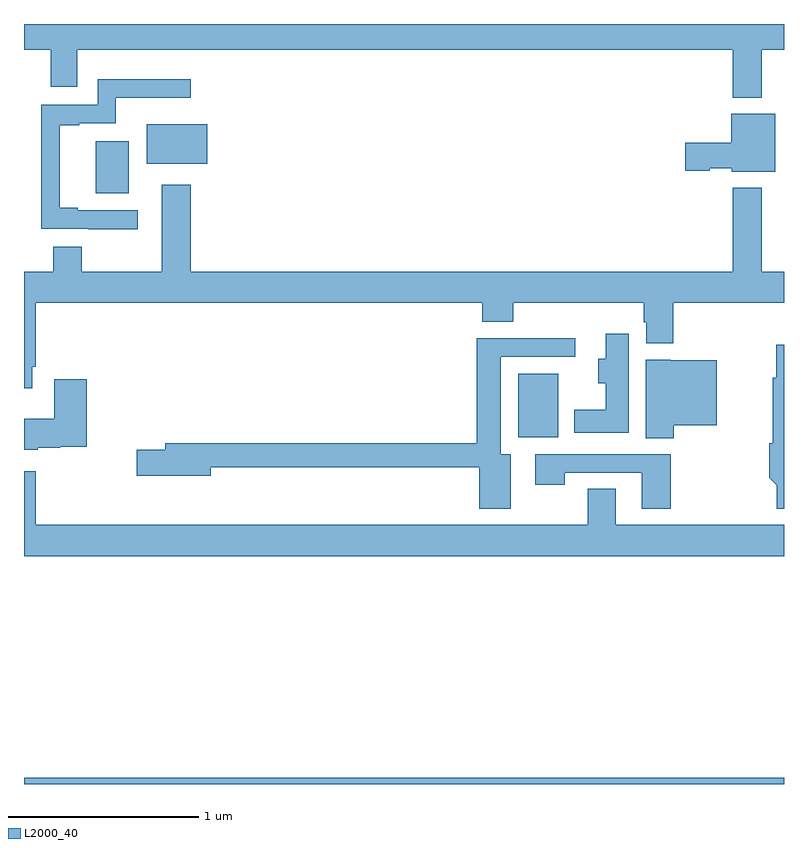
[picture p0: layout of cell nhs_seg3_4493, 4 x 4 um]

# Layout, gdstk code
import gdstk
lib = gdstk.Library(unit=1e-6, precision=1e-09)
def R(c, l, rs):  # rectangles x0, y0, x1, y1
    for r in rs: c.add(gdstk.rectangle(r[:2], r[2:], *l))
def P(c, l, *ps):  # polygons
    for p in ps: c.add(gdstk.Polygon(p, *l))
L2000_40 = (2000, 40)

nhs_seg3_4493 = lib.new_cell('nhs_seg3_4493')
R(nhs_seg3_4493, L2000_40, [(351,682.4,355,682.432), (353.6,684.224,353.812,684.559), (351.377,685.508,351.55,685.783), (351.647,685.664,351.964,685.873)])
P(nhs_seg3_4493, L2000_40, [(354.883,686.264),(355,686.264),(355,686.4),(351,686.4),(351,686.264),(351.14,686.264),(351.14,686.07),(351.28,686.07),(351.28,686.264),(354.731,686.264),(354.731,686.012),(354.883,686.012)],
  [(351.598,685.419),(351.283,685.419),(351.283,685.432),(351.188,685.432),(351.188,685.866),(351.29,685.866),(351.29,685.878),(351.484,685.878),(351.484,686.012),(351.877,686.012),(351.877,686.11),(351.387,686.11),(351.387,685.974),(351.09,685.974),(351.09,685.323),(351.339,685.323),(351.339,685.321),(351.598,685.321)],
  [(354.955,685.927),(354.722,685.927),(354.722,685.775),(354.48,685.775),(354.48,685.628),(354.609,685.628),(354.609,685.64),(354.726,685.64),(354.726,685.622),(354.955,685.622)],
  [(353.411,684.833),(353.576,684.833),(353.576,684.932),(354.263,684.932),(354.263,684.831),(354.275,684.831),(354.275,684.719),(354.416,684.719),(354.416,684.932),(355,684.932),(355,685.096),(354.883,685.096),(354.883,685.537),(354.731,685.537),(354.731,685.096),(351.878,685.096),(351.878,685.555),(351.725,685.555),(351.725,685.096),(351.303,685.096),(351.303,685.228),(351.155,685.228),(351.155,685.096),(351,685.096),(351,684.483),(351.043,684.483),(351.043,684.595),(351.061,684.595),(351.061,684.932),(353.411,684.932)],
  [(354.184,684.769),(354.062,684.769),(354.062,684.639),(354.023,684.639),(354.023,684.509),(354.062,684.509),(354.062,684.37),(353.897,684.37),(353.897,684.248),(354.184,684.248)],
  [(353.563,684.136),(353.509,684.136),(353.509,684.648),(353.902,684.648),(353.902,684.746),(353.384,684.746),(353.384,684.194),(351.743,684.194),(351.743,684.158),(351.594,684.158),(351.594,684.023),(351.982,684.023),(351.982,684.066),(353.396,684.066),(353.396,683.85),(353.563,683.85)],
  [(355,684.712),(354.958,684.712),(354.958,684.537),(354.94,684.537),(354.94,684.194),(354.923,684.194),(354.923,684.012),(354.961,683.973),(354.961,683.85),(355,683.85)],
  [(354.419,684.287),(354.646,684.287),(354.646,684.631),(354.402,684.631),(354.402,684.634),(354.272,684.634),(354.272,684.22),(354.419,684.22)],
  [(351.072,684.169),(351.192,684.169),(351.192,684.176),(351.329,684.176),(351.329,684.529),(351.158,684.529),(351.158,684.322),(351,684.322),(351,684.158),(351.072,684.158)],
  [(354.404,684.135),(353.691,684.135),(353.691,683.976),(353.847,683.976),(353.847,684.039),(354.251,684.039),(354.251,683.85),(354.404,683.85)],
  [(355,683.764),(354.115,683.764),(354.115,683.954),(353.968,683.954),(353.968,683.764),(351.061,683.764),(351.061,684.046),(351,684.046),(351,683.6),(355,683.6)])

lib.write_gds('nhs_seg3_4493.gds')
